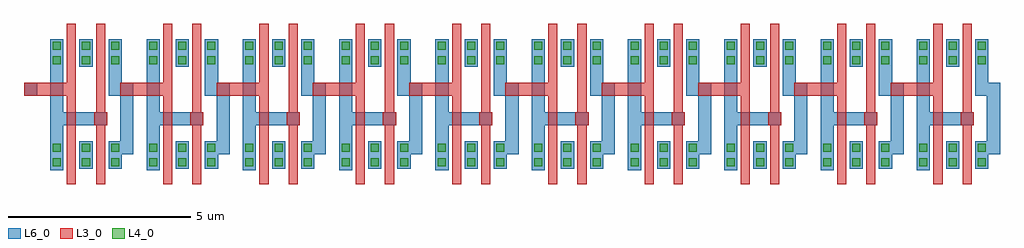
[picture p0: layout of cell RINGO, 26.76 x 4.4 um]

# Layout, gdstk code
import gdstk
lib = gdstk.Library(unit=1e-6, precision=1e-09)
def R(c, l, rs):  # rectangles x0, y0, x1, y1
    for r in rs: c.add(gdstk.rectangle(r[:2], r[2:], *l))
def A(c, l, x, y, w, h, nx, ny, dx, dy):  # array of equal rectangles
    R(c, l, [(x+i*dx, y+j*dy, x+i*dx+w, y+j*dy+h) for i in range(nx) for j in range(ny)])
L3_0 = (3, 0)
L4_0 = (4, 0)
L6_0 = (6, 0)
L10_0 = (10, 0)
L11_0 = (11, 0)
L20_0 = (20, 0)

ringo = lib.new_cell('RINGO')
A(ringo, L3_0, 0.22, 0.82, 0.36, 0.36, 10, 1, 2.64, 0)
A(ringo, L3_0, -1.7, 1.62, 1.3, 0.36, 10, 1, 2.64, 0)
R(ringo, L3_0, [(-0.525,-0.25,-0.275,2.25), (0.275,-0.25,0.525,2.25), (2.115,-0.25,2.365,2.25), (2.915,-0.25,3.165,2.25), (4.755,-0.25,5.005,2.25), (5.555,-0.25,5.805,2.25), (7.395,-0.25,7.645,2.25), (8.195,-0.25,8.445,2.25), (10.035,-0.25,10.285,2.25), (10.835,-0.25,11.085,2.25), (12.675,-0.25,12.925,2.25), (13.475,-0.25,13.725,2.25), (15.315,-0.25,15.565,2.25), (16.115,-0.25,16.365,2.25), (17.955,-0.25,18.205,2.25), (18.755,-0.25,19.005,2.25), (20.595,-0.25,20.845,2.25), (21.395,-0.25,21.645,2.25), (23.235,-0.25,23.485,2.25), (24.035,-0.25,24.285,2.25)])
R(ringo, L4_0, [(-0.91,-0.31,-0.69,-0.09), (-0.11,-0.31,0.11,-0.09), (-0.11,-0.31,0.11,-0.09), (0.69,-0.31,0.91,-0.09), (1.73,-0.31,1.95,-0.09), (2.53,-0.31,2.75,-0.09), (2.53,-0.31,2.75,-0.09), (3.33,-0.31,3.55,-0.09), (4.37,-0.31,4.59,-0.09), (5.17,-0.31,5.39,-0.09), (5.17,-0.31,5.39,-0.09), (5.97,-0.31,6.19,-0.09), (7.01,-0.31,7.23,-0.09), (7.81,-0.31,8.03,-0.09), (7.81,-0.31,8.03,-0.09), (8.61,-0.31,8.83,-0.09), (9.65,-0.31,9.87,-0.09), (10.45,-0.31,10.67,-0.09), (10.45,-0.31,10.67,-0.09), (11.25,-0.31,11.47,-0.09), (12.29,-0.31,12.51,-0.09), (13.09,-0.31,13.31,-0.09), (13.09,-0.31,13.31,-0.09), (13.89,-0.31,14.11,-0.09), (14.93,-0.31,15.15,-0.09), (15.73,-0.31,15.95,-0.09), (15.73,-0.31,15.95,-0.09), (16.53,-0.31,16.75,-0.09), (17.57,-0.31,17.79,-0.09), (18.37,-0.31,18.59,-0.09), (18.37,-0.31,18.59,-0.09), (19.17,-0.31,19.39,-0.09), (20.21,-0.31,20.43,-0.09), (21.01,-0.31,21.23,-0.09), (21.01,-0.31,21.23,-0.09), (21.81,-0.31,22.03,-0.09), (22.85,-0.31,23.07,-0.09), (23.65,-0.31,23.87,-0.09), (23.65,-0.31,23.87,-0.09), (24.45,-0.31,24.67,-0.09), (-0.91,0.09,-0.69,0.31), (-0.11,0.09,0.11,0.31), (-0.11,0.09,0.11,0.31), (0.69,0.09,0.91,0.31), (1.73,0.09,1.95,0.31), (2.53,0.09,2.75,0.31), (2.53,0.09,2.75,0.31), (3.33,0.09,3.55,0.31), (4.37,0.09,4.59,0.31), (5.17,0.09,5.39,0.31), (5.17,0.09,5.39,0.31), (5.97,0.09,6.19,0.31), (7.01,0.09,7.23,0.31), (7.81,0.09,8.03,0.31), (7.81,0.09,8.03,0.31), (8.61,0.09,8.83,0.31), (9.65,0.09,9.87,0.31), (10.45,0.09,10.67,0.31), (10.45,0.09,10.67,0.31), (11.25,0.09,11.47,0.31), (12.29,0.09,12.51,0.31), (13.09,0.09,13.31,0.31), (13.09,0.09,13.31,0.31), (13.89,0.09,14.11,0.31), (14.93,0.09,15.15,0.31), (15.73,0.09,15.95,0.31), (15.73,0.09,15.95,0.31), (16.53,0.09,16.75,0.31), (17.57,0.09,17.79,0.31), (18.37,0.09,18.59,0.31), (18.37,0.09,18.59,0.31), (19.17,0.09,19.39,0.31), (20.21,0.09,20.43,0.31), (21.01,0.09,21.23,0.31), (21.01,0.09,21.23,0.31), (21.81,0.09,22.03,0.31), (22.85,0.09,23.07,0.31), (23.65,0.09,23.87,0.31), (23.65,0.09,23.87,0.31), (24.45,0.09,24.67,0.31), (-0.91,2.49,-0.69,2.71), (-0.11,2.49,0.11,2.71), (-0.11,2.49,0.11,2.71), (0.69,2.49,0.91,2.71), (1.73,2.49,1.95,2.71), (2.53,2.49,2.75,2.71), (2.53,2.49,2.75,2.71), (3.33,2.49,3.55,2.71), (4.37,2.49,4.59,2.71), (5.17,2.49,5.39,2.71), (5.17,2.49,5.39,2.71), (5.97,2.49,6.19,2.71), (7.01,2.49,7.23,2.71), (7.81,2.49,8.03,2.71), (7.81,2.49,8.03,2.71), (8.61,2.49,8.83,2.71), (9.65,2.49,9.87,2.71), (10.45,2.49,10.67,2.71), (10.45,2.49,10.67,2.71), (11.25,2.49,11.47,2.71), (12.29,2.49,12.51,2.71), (13.09,2.49,13.31,2.71), (13.09,2.49,13.31,2.71), (13.89,2.49,14.11,2.71), (14.93,2.49,15.15,2.71), (15.73,2.49,15.95,2.71), (15.73,2.49,15.95,2.71), (16.53,2.49,16.75,2.71), (17.57,2.49,17.79,2.71), (18.37,2.49,18.59,2.71), (18.37,2.49,18.59,2.71), (19.17,2.49,19.39,2.71), (20.21,2.49,20.43,2.71), (21.01,2.49,21.23,2.71), (21.01,2.49,21.23,2.71), (21.81,2.49,22.03,2.71), (22.85,2.49,23.07,2.71), (23.65,2.49,23.87,2.71), (23.65,2.49,23.87,2.71), (24.45,2.49,24.67,2.71), (-0.91,2.89,-0.69,3.11), (-0.11,2.89,0.11,3.11), (-0.11,2.89,0.11,3.11), (0.69,2.89,0.91,3.11), (1.73,2.89,1.95,3.11), (2.53,2.89,2.75,3.11), (2.53,2.89,2.75,3.11), (3.33,2.89,3.55,3.11), (4.37,2.89,4.59,3.11), (5.17,2.89,5.39,3.11), (5.17,2.89,5.39,3.11), (5.97,2.89,6.19,3.11), (7.01,2.89,7.23,3.11), (7.81,2.89,8.03,3.11), (7.81,2.89,8.03,3.11), (8.61,2.89,8.83,3.11), (9.65,2.89,9.87,3.11), (10.45,2.89,10.67,3.11), (10.45,2.89,10.67,3.11), (11.25,2.89,11.47,3.11), (12.29,2.89,12.51,3.11), (13.09,2.89,13.31,3.11), (13.09,2.89,13.31,3.11), (13.89,2.89,14.11,3.11), (14.93,2.89,15.15,3.11), (15.73,2.89,15.95,3.11), (15.73,2.89,15.95,3.11), (16.53,2.89,16.75,3.11), (17.57,2.89,17.79,3.11), (18.37,2.89,18.59,3.11), (18.37,2.89,18.59,3.11), (19.17,2.89,19.39,3.11), (20.21,2.89,20.43,3.11), (21.01,2.89,21.23,3.11), (21.01,2.89,21.23,3.11), (21.81,2.89,22.03,3.11), (22.85,2.89,23.07,3.11), (23.65,2.89,23.87,3.11), (23.65,2.89,23.87,3.11), (24.45,2.89,24.67,3.11)])
A(ringo, L6_0, -0.98, -0.42, 0.36, 2.84, 10, 1, 2.64, 0)
A(ringo, L6_0, -0.8, 0.82, 1.38, 0.36, 10, 1, 2.64, 0)
R(ringo, L6_0, [(-0.98,-0.38,-0.62,0.38), (-0.18,-0.38,0.18,0.38), (-0.18,-0.38,0.18,0.38), (0.62,-0.38,0.98,0.38), (1.66,-0.38,2.02,0.38), (2.46,-0.38,2.82,0.38), (2.46,-0.38,2.82,0.38), (3.26,-0.38,3.62,0.38), (4.3,-0.38,4.66,0.38), (5.1,-0.38,5.46,0.38), (5.1,-0.38,5.46,0.38), (5.9,-0.38,6.26,0.38), (6.94,-0.38,7.3,0.38), (7.74,-0.38,8.1,0.38), (7.74,-0.38,8.1,0.38), (8.54,-0.38,8.9,0.38), (9.58,-0.38,9.94,0.38), (10.38,-0.38,10.74,0.38), (10.38,-0.38,10.74,0.38), (11.18,-0.38,11.54,0.38), (12.22,-0.38,12.58,0.38), (13.02,-0.38,13.38,0.38), (13.02,-0.38,13.38,0.38), (13.82,-0.38,14.18,0.38), (14.86,-0.38,15.22,0.38), (15.66,-0.38,16.02,0.38), (15.66,-0.38,16.02,0.38), (16.46,-0.38,16.82,0.38), (17.5,-0.38,17.86,0.38), (18.3,-0.38,18.66,0.38), (18.3,-0.38,18.66,0.38), (19.1,-0.38,19.46,0.38), (20.14,-0.38,20.5,0.38), (20.94,-0.38,21.3,0.38), (20.94,-0.38,21.3,0.38), (21.74,-0.38,22.1,0.38), (22.78,-0.38,23.14,0.38), (23.58,-0.38,23.94,0.38), (23.58,-0.38,23.94,0.38), (24.38,-0.38,24.74,0.38), (-1.7,1.62,-1.34,1.98), (-0.98,2.42,-0.62,3.18), (-0.18,2.42,0.18,3.18), (-0.18,2.42,0.18,3.18), (0.62,2.42,0.98,3.18), (1.66,2.42,2.02,3.18), (2.46,2.42,2.82,3.18), (2.46,2.42,2.82,3.18), (3.26,2.42,3.62,3.18), (4.3,2.42,4.66,3.18), (5.1,2.42,5.46,3.18), (5.1,2.42,5.46,3.18), (5.9,2.42,6.26,3.18), (6.94,2.42,7.3,3.18), (7.74,2.42,8.1,3.18), (7.74,2.42,8.1,3.18), (8.54,2.42,8.9,3.18), (9.58,2.42,9.94,3.18), (10.38,2.42,10.74,3.18), (10.38,2.42,10.74,3.18), (11.18,2.42,11.54,3.18), (12.22,2.42,12.58,3.18), (13.02,2.42,13.38,3.18), (13.02,2.42,13.38,3.18), (13.82,2.42,14.18,3.18), (14.86,2.42,15.22,3.18), (15.66,2.42,16.02,3.18), (15.66,2.42,16.02,3.18), (16.46,2.42,16.82,3.18), (17.5,2.42,17.86,3.18), (18.3,2.42,18.66,3.18), (18.3,2.42,18.66,3.18), (19.1,2.42,19.46,3.18), (20.14,2.42,20.5,3.18), (20.94,2.42,21.3,3.18), (20.94,2.42,21.3,3.18), (21.74,2.42,22.1,3.18), (22.78,2.42,23.14,3.18), (23.58,2.42,23.94,3.18), (23.58,2.42,23.94,3.18), (24.38,2.42,24.74,3.18)])
ringo.add(gdstk.FlexPath([(-0.4,-0.8),(-0.4,0.8)], 0.25, ends="flush", simple_path=True, layer=3, datatype=0))  # L3_0
ringo.add(gdstk.FlexPath([(-0.4,2),(-0.4,3.6)], 0.25, ends="flush", simple_path=True, layer=3, datatype=0))  # L3_0
ringo.add(gdstk.FlexPath([(0.4,0.8),(0.4,-0.8)], 0.25, ends="flush", simple_path=True, layer=3, datatype=0))  # L3_0
ringo.add(gdstk.FlexPath([(0.4,3.6),(0.4,2)], 0.25, ends="flush", simple_path=True, layer=3, datatype=0))  # L3_0
ringo.add(gdstk.FlexPath([(2.24,-0.8),(2.24,0.8)], 0.25, ends="flush", simple_path=True, layer=3, datatype=0))  # L3_0
ringo.add(gdstk.FlexPath([(2.24,2),(2.24,3.6)], 0.25, ends="flush", simple_path=True, layer=3, datatype=0))  # L3_0
ringo.add(gdstk.FlexPath([(3.04,0.8),(3.04,-0.8)], 0.25, ends="flush", simple_path=True, layer=3, datatype=0))  # L3_0
ringo.add(gdstk.FlexPath([(3.04,3.6),(3.04,2)], 0.25, ends="flush", simple_path=True, layer=3, datatype=0))  # L3_0
ringo.add(gdstk.FlexPath([(4.88,-0.8),(4.88,0.8)], 0.25, ends="flush", simple_path=True, layer=3, datatype=0))  # L3_0
ringo.add(gdstk.FlexPath([(4.88,2),(4.88,3.6)], 0.25, ends="flush", simple_path=True, layer=3, datatype=0))  # L3_0
ringo.add(gdstk.FlexPath([(5.68,0.8),(5.68,-0.8)], 0.25, ends="flush", simple_path=True, layer=3, datatype=0))  # L3_0
ringo.add(gdstk.FlexPath([(5.68,3.6),(5.68,2)], 0.25, ends="flush", simple_path=True, layer=3, datatype=0))  # L3_0
ringo.add(gdstk.FlexPath([(7.52,-0.8),(7.52,0.8)], 0.25, ends="flush", simple_path=True, layer=3, datatype=0))  # L3_0
ringo.add(gdstk.FlexPath([(7.52,2),(7.52,3.6)], 0.25, ends="flush", simple_path=True, layer=3, datatype=0))  # L3_0
ringo.add(gdstk.FlexPath([(8.32,0.8),(8.32,-0.8)], 0.25, ends="flush", simple_path=True, layer=3, datatype=0))  # L3_0
ringo.add(gdstk.FlexPath([(8.32,3.6),(8.32,2)], 0.25, ends="flush", simple_path=True, layer=3, datatype=0))  # L3_0
ringo.add(gdstk.FlexPath([(10.16,-0.8),(10.16,0.8)], 0.25, ends="flush", simple_path=True, layer=3, datatype=0))  # L3_0
ringo.add(gdstk.FlexPath([(10.16,2),(10.16,3.6)], 0.25, ends="flush", simple_path=True, layer=3, datatype=0))  # L3_0
ringo.add(gdstk.FlexPath([(10.96,0.8),(10.96,-0.8)], 0.25, ends="flush", simple_path=True, layer=3, datatype=0))  # L3_0
ringo.add(gdstk.FlexPath([(10.96,3.6),(10.96,2)], 0.25, ends="flush", simple_path=True, layer=3, datatype=0))  # L3_0
ringo.add(gdstk.FlexPath([(12.8,-0.8),(12.8,0.8)], 0.25, ends="flush", simple_path=True, layer=3, datatype=0))  # L3_0
ringo.add(gdstk.FlexPath([(12.8,2),(12.8,3.6)], 0.25, ends="flush", simple_path=True, layer=3, datatype=0))  # L3_0
ringo.add(gdstk.FlexPath([(13.6,0.8),(13.6,-0.8)], 0.25, ends="flush", simple_path=True, layer=3, datatype=0))  # L3_0
ringo.add(gdstk.FlexPath([(13.6,3.6),(13.6,2)], 0.25, ends="flush", simple_path=True, layer=3, datatype=0))  # L3_0
ringo.add(gdstk.FlexPath([(15.44,-0.8),(15.44,0.8)], 0.25, ends="flush", simple_path=True, layer=3, datatype=0))  # L3_0
ringo.add(gdstk.FlexPath([(15.44,2),(15.44,3.6)], 0.25, ends="flush", simple_path=True, layer=3, datatype=0))  # L3_0
ringo.add(gdstk.FlexPath([(16.24,0.8),(16.24,-0.8)], 0.25, ends="flush", simple_path=True, layer=3, datatype=0))  # L3_0
ringo.add(gdstk.FlexPath([(16.24,3.6),(16.24,2)], 0.25, ends="flush", simple_path=True, layer=3, datatype=0))  # L3_0
ringo.add(gdstk.FlexPath([(18.08,-0.8),(18.08,0.8)], 0.25, ends="flush", simple_path=True, layer=3, datatype=0))  # L3_0
ringo.add(gdstk.FlexPath([(18.08,2),(18.08,3.6)], 0.25, ends="flush", simple_path=True, layer=3, datatype=0))  # L3_0
ringo.add(gdstk.FlexPath([(18.88,0.8),(18.88,-0.8)], 0.25, ends="flush", simple_path=True, layer=3, datatype=0))  # L3_0
ringo.add(gdstk.FlexPath([(18.88,3.6),(18.88,2)], 0.25, ends="flush", simple_path=True, layer=3, datatype=0))  # L3_0
ringo.add(gdstk.FlexPath([(20.72,-0.8),(20.72,0.8)], 0.25, ends="flush", simple_path=True, layer=3, datatype=0))  # L3_0
ringo.add(gdstk.FlexPath([(20.72,2),(20.72,3.6)], 0.25, ends="flush", simple_path=True, layer=3, datatype=0))  # L3_0
ringo.add(gdstk.FlexPath([(21.52,0.8),(21.52,-0.8)], 0.25, ends="flush", simple_path=True, layer=3, datatype=0))  # L3_0
ringo.add(gdstk.FlexPath([(21.52,3.6),(21.52,2)], 0.25, ends="flush", simple_path=True, layer=3, datatype=0))  # L3_0
ringo.add(gdstk.FlexPath([(23.36,-0.8),(23.36,0.8)], 0.25, ends="flush", simple_path=True, layer=3, datatype=0))  # L3_0
ringo.add(gdstk.FlexPath([(23.36,2),(23.36,3.6)], 0.25, ends="flush", simple_path=True, layer=3, datatype=0))  # L3_0
ringo.add(gdstk.FlexPath([(24.16,0.8),(24.16,-0.8)], 0.25, ends="flush", simple_path=True, layer=3, datatype=0))  # L3_0
ringo.add(gdstk.FlexPath([(24.16,3.6),(24.16,2)], 0.25, ends="flush", simple_path=True, layer=3, datatype=0))  # L3_0
ringo.add(gdstk.FlexPath([(0.8,0.2),(1.12,0.2),(1.12,1.8),(0.8,1.8),(0.8,2.42)], 0.36, ends="flush", simple_path=True, layer=6, datatype=0))  # L6_0
ringo.add(gdstk.FlexPath([(3.44,0.2),(3.76,0.2),(3.76,1.8),(3.44,1.8),(3.44,2.42)], 0.36, ends="flush", simple_path=True, layer=6, datatype=0))  # L6_0
ringo.add(gdstk.FlexPath([(6.08,0.2),(6.4,0.2),(6.4,1.8),(6.08,1.8),(6.08,2.42)], 0.36, ends="flush", simple_path=True, layer=6, datatype=0))  # L6_0
ringo.add(gdstk.FlexPath([(8.72,0.2),(9.04,0.2),(9.04,1.8),(8.72,1.8),(8.72,2.42)], 0.36, ends="flush", simple_path=True, layer=6, datatype=0))  # L6_0
ringo.add(gdstk.FlexPath([(11.36,0.2),(11.68,0.2),(11.68,1.8),(11.36,1.8),(11.36,2.42)], 0.36, ends="flush", simple_path=True, layer=6, datatype=0))  # L6_0
ringo.add(gdstk.FlexPath([(14,0.2),(14.32,0.2),(14.32,1.8),(14,1.8),(14,2.42)], 0.36, ends="flush", simple_path=True, layer=6, datatype=0))  # L6_0
ringo.add(gdstk.FlexPath([(16.64,0.2),(16.96,0.2),(16.96,1.8),(16.64,1.8),(16.64,2.42)], 0.36, ends="flush", simple_path=True, layer=6, datatype=0))  # L6_0
ringo.add(gdstk.FlexPath([(19.28,0.2),(19.6,0.2),(19.6,1.8),(19.28,1.8),(19.28,2.42)], 0.36, ends="flush", simple_path=True, layer=6, datatype=0))  # L6_0
ringo.add(gdstk.FlexPath([(21.92,0.2),(22.24,0.2),(22.24,1.8),(21.92,1.8),(21.92,2.42)], 0.36, ends="flush", simple_path=True, layer=6, datatype=0))  # L6_0
ringo.add(gdstk.FlexPath([(24.56,0.2),(24.88,0.2),(24.88,1.8),(24.56,1.8),(24.56,2.42)], 0.36, ends="flush", simple_path=True, layer=6, datatype=0))  # L6_0
ringo.add(gdstk.FlexPath([(-0.525,-0.8),(-0.525,1.62)], 0, ends="flush", simple_path=True, layer=10, datatype=0))  # L10_0
ringo.add(gdstk.FlexPath([(-0.275,1.691),(-0.275,-0.8)], 0, ends="flush", simple_path=True, layer=10, datatype=0))  # L10_0
ringo.add(gdstk.FlexPath([(-0.525,1.98),(-0.525,3.6)], 0, ends="flush", simple_path=True, layer=10, datatype=0))  # L10_0
ringo.add(gdstk.FlexPath([(-0.275,3.6),(-0.275,1.909)], 0, ends="flush", simple_path=True, layer=10, datatype=0))  # L10_0
ringo.add(gdstk.FlexPath([(0.275,-0.8),(0.275,0.82)], 0, ends="flush", simple_path=True, layer=10, datatype=0))  # L10_0
ringo.add(gdstk.FlexPath([(0.525,0.82),(0.525,-0.8)], 0, ends="flush", simple_path=True, layer=10, datatype=0))  # L10_0
ringo.add(gdstk.FlexPath([(0.275,1.18),(0.275,3.6)], 0, ends="flush", simple_path=True, layer=10, datatype=0))  # L10_0
ringo.add(gdstk.FlexPath([(0.525,3.6),(0.525,1.18)], 0, ends="flush", simple_path=True, layer=10, datatype=0))  # L10_0
ringo.add(gdstk.FlexPath([(2.115,-0.8),(2.115,1.62)], 0, ends="flush", simple_path=True, layer=10, datatype=0))  # L10_0
ringo.add(gdstk.FlexPath([(2.365,1.691),(2.365,-0.8)], 0, ends="flush", simple_path=True, layer=10, datatype=0))  # L10_0
ringo.add(gdstk.FlexPath([(2.115,1.98),(2.115,3.6)], 0, ends="flush", simple_path=True, layer=10, datatype=0))  # L10_0
ringo.add(gdstk.FlexPath([(2.365,3.6),(2.365,1.909)], 0, ends="flush", simple_path=True, layer=10, datatype=0))  # L10_0
ringo.add(gdstk.FlexPath([(2.915,-0.8),(2.915,0.82)], 0, ends="flush", simple_path=True, layer=10, datatype=0))  # L10_0
ringo.add(gdstk.FlexPath([(3.165,0.82),(3.165,-0.8)], 0, ends="flush", simple_path=True, layer=10, datatype=0))  # L10_0
ringo.add(gdstk.FlexPath([(2.915,1.18),(2.915,3.6)], 0, ends="flush", simple_path=True, layer=10, datatype=0))  # L10_0
ringo.add(gdstk.FlexPath([(3.165,3.6),(3.165,1.18)], 0, ends="flush", simple_path=True, layer=10, datatype=0))  # L10_0
ringo.add(gdstk.FlexPath([(4.755,-0.8),(4.755,1.62)], 0, ends="flush", simple_path=True, layer=10, datatype=0))  # L10_0
ringo.add(gdstk.FlexPath([(5.005,1.691),(5.005,-0.8)], 0, ends="flush", simple_path=True, layer=10, datatype=0))  # L10_0
ringo.add(gdstk.FlexPath([(4.755,1.98),(4.755,3.6)], 0, ends="flush", simple_path=True, layer=10, datatype=0))  # L10_0
ringo.add(gdstk.FlexPath([(5.005,3.6),(5.005,1.909)], 0, ends="flush", simple_path=True, layer=10, datatype=0))  # L10_0
ringo.add(gdstk.FlexPath([(5.555,-0.8),(5.555,0.82)], 0, ends="flush", simple_path=True, layer=10, datatype=0))  # L10_0
ringo.add(gdstk.FlexPath([(5.805,0.82),(5.805,-0.8)], 0, ends="flush", simple_path=True, layer=10, datatype=0))  # L10_0
ringo.add(gdstk.FlexPath([(5.555,1.18),(5.555,3.6)], 0, ends="flush", simple_path=True, layer=10, datatype=0))  # L10_0
ringo.add(gdstk.FlexPath([(5.805,3.6),(5.805,1.18)], 0, ends="flush", simple_path=True, layer=10, datatype=0))  # L10_0
ringo.add(gdstk.FlexPath([(7.395,-0.8),(7.395,1.62)], 0, ends="flush", simple_path=True, layer=10, datatype=0))  # L10_0
ringo.add(gdstk.FlexPath([(7.645,1.691),(7.645,-0.8)], 0, ends="flush", simple_path=True, layer=10, datatype=0))  # L10_0
ringo.add(gdstk.FlexPath([(7.395,1.98),(7.395,3.6)], 0, ends="flush", simple_path=True, layer=10, datatype=0))  # L10_0
ringo.add(gdstk.FlexPath([(7.645,3.6),(7.645,1.909)], 0, ends="flush", simple_path=True, layer=10, datatype=0))  # L10_0
ringo.add(gdstk.FlexPath([(8.195,-0.8),(8.195,0.82)], 0, ends="flush", simple_path=True, layer=10, datatype=0))  # L10_0
ringo.add(gdstk.FlexPath([(8.445,0.82),(8.445,-0.8)], 0, ends="flush", simple_path=True, layer=10, datatype=0))  # L10_0
ringo.add(gdstk.FlexPath([(8.195,1.18),(8.195,3.6)], 0, ends="flush", simple_path=True, layer=10, datatype=0))  # L10_0
ringo.add(gdstk.FlexPath([(8.445,3.6),(8.445,1.18)], 0, ends="flush", simple_path=True, layer=10, datatype=0))  # L10_0
ringo.add(gdstk.FlexPath([(10.035,-0.8),(10.035,1.62)], 0, ends="flush", simple_path=True, layer=10, datatype=0))  # L10_0
ringo.add(gdstk.FlexPath([(10.285,1.691),(10.285,-0.8)], 0, ends="flush", simple_path=True, layer=10, datatype=0))  # L10_0
ringo.add(gdstk.FlexPath([(10.035,1.98),(10.035,3.6)], 0, ends="flush", simple_path=True, layer=10, datatype=0))  # L10_0
ringo.add(gdstk.FlexPath([(10.285,3.6),(10.285,1.909)], 0, ends="flush", simple_path=True, layer=10, datatype=0))  # L10_0
ringo.add(gdstk.FlexPath([(10.835,-0.8),(10.835,0.82)], 0, ends="flush", simple_path=True, layer=10, datatype=0))  # L10_0
ringo.add(gdstk.FlexPath([(11.085,0.82),(11.085,-0.8)], 0, ends="flush", simple_path=True, layer=10, datatype=0))  # L10_0
ringo.add(gdstk.FlexPath([(10.835,1.18),(10.835,3.6)], 0, ends="flush", simple_path=True, layer=10, datatype=0))  # L10_0
ringo.add(gdstk.FlexPath([(11.085,3.6),(11.085,1.18)], 0, ends="flush", simple_path=True, layer=10, datatype=0))  # L10_0
ringo.add(gdstk.FlexPath([(12.675,-0.8),(12.675,1.62)], 0, ends="flush", simple_path=True, layer=10, datatype=0))  # L10_0
ringo.add(gdstk.FlexPath([(12.925,1.691),(12.925,-0.8)], 0, ends="flush", simple_path=True, layer=10, datatype=0))  # L10_0
ringo.add(gdstk.FlexPath([(12.675,1.98),(12.675,3.6)], 0, ends="flush", simple_path=True, layer=10, datatype=0))  # L10_0
ringo.add(gdstk.FlexPath([(12.925,3.6),(12.925,1.909)], 0, ends="flush", simple_path=True, layer=10, datatype=0))  # L10_0
ringo.add(gdstk.FlexPath([(13.475,-0.8),(13.475,0.82)], 0, ends="flush", simple_path=True, layer=10, datatype=0))  # L10_0
ringo.add(gdstk.FlexPath([(13.725,0.82),(13.725,-0.8)], 0, ends="flush", simple_path=True, layer=10, datatype=0))  # L10_0
ringo.add(gdstk.FlexPath([(13.475,1.18),(13.475,3.6)], 0, ends="flush", simple_path=True, layer=10, datatype=0))  # L10_0
ringo.add(gdstk.FlexPath([(13.725,3.6),(13.725,1.18)], 0, ends="flush", simple_path=True, layer=10, datatype=0))  # L10_0
ringo.add(gdstk.FlexPath([(15.315,-0.8),(15.315,1.62)], 0, ends="flush", simple_path=True, layer=10, datatype=0))  # L10_0
ringo.add(gdstk.FlexPath([(15.565,1.691),(15.565,-0.8)], 0, ends="flush", simple_path=True, layer=10, datatype=0))  # L10_0
ringo.add(gdstk.FlexPath([(15.315,1.98),(15.315,3.6)], 0, ends="flush", simple_path=True, layer=10, datatype=0))  # L10_0
ringo.add(gdstk.FlexPath([(15.565,3.6),(15.565,1.909)], 0, ends="flush", simple_path=True, layer=10, datatype=0))  # L10_0
ringo.add(gdstk.FlexPath([(16.115,-0.8),(16.115,0.82)], 0, ends="flush", simple_path=True, layer=10, datatype=0))  # L10_0
ringo.add(gdstk.FlexPath([(16.365,0.82),(16.365,-0.8)], 0, ends="flush", simple_path=True, layer=10, datatype=0))  # L10_0
ringo.add(gdstk.FlexPath([(16.115,1.18),(16.115,3.6)], 0, ends="flush", simple_path=True, layer=10, datatype=0))  # L10_0
ringo.add(gdstk.FlexPath([(16.365,3.6),(16.365,1.18)], 0, ends="flush", simple_path=True, layer=10, datatype=0))  # L10_0
ringo.add(gdstk.FlexPath([(17.955,-0.8),(17.955,1.62)], 0, ends="flush", simple_path=True, layer=10, datatype=0))  # L10_0
ringo.add(gdstk.FlexPath([(18.205,1.691),(18.205,-0.8)], 0, ends="flush", simple_path=True, layer=10, datatype=0))  # L10_0
ringo.add(gdstk.FlexPath([(17.955,1.98),(17.955,3.6)], 0, ends="flush", simple_path=True, layer=10, datatype=0))  # L10_0
ringo.add(gdstk.FlexPath([(18.205,3.6),(18.205,1.909)], 0, ends="flush", simple_path=True, layer=10, datatype=0))  # L10_0
ringo.add(gdstk.FlexPath([(18.755,-0.8),(18.755,0.82)], 0, ends="flush", simple_path=True, layer=10, datatype=0))  # L10_0
ringo.add(gdstk.FlexPath([(19.005,0.82),(19.005,-0.8)], 0, ends="flush", simple_path=True, layer=10, datatype=0))  # L10_0
ringo.add(gdstk.FlexPath([(18.755,1.18),(18.755,3.6)], 0, ends="flush", simple_path=True, layer=10, datatype=0))  # L10_0
ringo.add(gdstk.FlexPath([(19.005,3.6),(19.005,1.18)], 0, ends="flush", simple_path=True, layer=10, datatype=0))  # L10_0
ringo.add(gdstk.FlexPath([(20.595,-0.8),(20.595,1.62)], 0, ends="flush", simple_path=True, layer=10, datatype=0))  # L10_0
ringo.add(gdstk.FlexPath([(20.845,1.691),(20.845,-0.8)], 0, ends="flush", simple_path=True, layer=10, datatype=0))  # L10_0
ringo.add(gdstk.FlexPath([(20.595,1.98),(20.595,3.6)], 0, ends="flush", simple_path=True, layer=10, datatype=0))  # L10_0
ringo.add(gdstk.FlexPath([(20.845,3.6),(20.845,1.909)], 0, ends="flush", simple_path=True, layer=10, datatype=0))  # L10_0
ringo.add(gdstk.FlexPath([(21.395,-0.8),(21.395,0.82)], 0, ends="flush", simple_path=True, layer=10, datatype=0))  # L10_0
ringo.add(gdstk.FlexPath([(21.645,0.82),(21.645,-0.8)], 0, ends="flush", simple_path=True, layer=10, datatype=0))  # L10_0
ringo.add(gdstk.FlexPath([(21.395,1.18),(21.395,3.6)], 0, ends="flush", simple_path=True, layer=10, datatype=0))  # L10_0
ringo.add(gdstk.FlexPath([(21.645,3.6),(21.645,1.18)], 0, ends="flush", simple_path=True, layer=10, datatype=0))  # L10_0
ringo.add(gdstk.FlexPath([(23.235,-0.8),(23.235,1.62)], 0, ends="flush", simple_path=True, layer=10, datatype=0))  # L10_0
ringo.add(gdstk.FlexPath([(23.485,1.691),(23.485,-0.8)], 0, ends="flush", simple_path=True, layer=10, datatype=0))  # L10_0
ringo.add(gdstk.FlexPath([(23.235,1.98),(23.235,3.6)], 0, ends="flush", simple_path=True, layer=10, datatype=0))  # L10_0
ringo.add(gdstk.FlexPath([(23.485,3.6),(23.485,1.909)], 0, ends="flush", simple_path=True, layer=10, datatype=0))  # L10_0
ringo.add(gdstk.FlexPath([(24.035,-0.8),(24.035,0.82)], 0, ends="flush", simple_path=True, layer=10, datatype=0))  # L10_0
ringo.add(gdstk.FlexPath([(24.285,0.82),(24.285,-0.8)], 0, ends="flush", simple_path=True, layer=10, datatype=0))  # L10_0
ringo.add(gdstk.FlexPath([(24.035,1.18),(24.035,3.6)], 0, ends="flush", simple_path=True, layer=10, datatype=0))  # L10_0
ringo.add(gdstk.FlexPath([(24.285,3.6),(24.285,1.18)], 0, ends="flush", simple_path=True, layer=10, datatype=0))  # L10_0
ringo.add(gdstk.FlexPath([(-0.525,-0.8),(-0.525,1.62)], 0, ends="flush", simple_path=True, layer=11, datatype=0))  # L11_0
ringo.add(gdstk.FlexPath([(-0.275,3.6),(-0.275,-0.8)], 0, ends="flush", simple_path=True, layer=11, datatype=0))  # L11_0
ringo.add(gdstk.FlexPath([(0.275,1.18),(0.275,3.6)], 0, ends="flush", simple_path=True, layer=11, datatype=0))  # L11_0
ringo.add(gdstk.FlexPath([(0.525,3.6),(0.525,1.18)], 0, ends="flush", simple_path=True, layer=11, datatype=0))  # L11_0
ringo.add(gdstk.FlexPath([(2.115,-0.8),(2.115,1.62)], 0, ends="flush", simple_path=True, layer=11, datatype=0))  # L11_0
ringo.add(gdstk.FlexPath([(2.365,3.6),(2.365,-0.8)], 0, ends="flush", simple_path=True, layer=11, datatype=0))  # L11_0
ringo.add(gdstk.FlexPath([(2.915,1.18),(2.915,3.6)], 0, ends="flush", simple_path=True, layer=11, datatype=0))  # L11_0
ringo.add(gdstk.FlexPath([(3.165,3.6),(3.165,1.18)], 0, ends="flush", simple_path=True, layer=11, datatype=0))  # L11_0
ringo.add(gdstk.FlexPath([(4.755,-0.8),(4.755,1.62)], 0, ends="flush", simple_path=True, layer=11, datatype=0))  # L11_0
ringo.add(gdstk.FlexPath([(5.005,3.6),(5.005,-0.8)], 0, ends="flush", simple_path=True, layer=11, datatype=0))  # L11_0
ringo.add(gdstk.FlexPath([(5.555,1.18),(5.555,3.6)], 0, ends="flush", simple_path=True, layer=11, datatype=0))  # L11_0
ringo.add(gdstk.FlexPath([(5.805,3.6),(5.805,1.18)], 0, ends="flush", simple_path=True, layer=11, datatype=0))  # L11_0
ringo.add(gdstk.FlexPath([(7.395,-0.8),(7.395,1.62)], 0, ends="flush", simple_path=True, layer=11, datatype=0))  # L11_0
ringo.add(gdstk.FlexPath([(7.645,3.6),(7.645,-0.8)], 0, ends="flush", simple_path=True, layer=11, datatype=0))  # L11_0
ringo.add(gdstk.FlexPath([(8.195,1.18),(8.195,3.6)], 0, ends="flush", simple_path=True, layer=11, datatype=0))  # L11_0
ringo.add(gdstk.FlexPath([(8.445,3.6),(8.445,1.18)], 0, ends="flush", simple_path=True, layer=11, datatype=0))  # L11_0
ringo.add(gdstk.FlexPath([(10.035,-0.8),(10.035,1.62)], 0, ends="flush", simple_path=True, layer=11, datatype=0))  # L11_0
ringo.add(gdstk.FlexPath([(10.285,3.6),(10.285,-0.8)], 0, ends="flush", simple_path=True, layer=11, datatype=0))  # L11_0
ringo.add(gdstk.FlexPath([(10.835,1.18),(10.835,3.6)], 0, ends="flush", simple_path=True, layer=11, datatype=0))  # L11_0
ringo.add(gdstk.FlexPath([(11.085,3.6),(11.085,1.18)], 0, ends="flush", simple_path=True, layer=11, datatype=0))  # L11_0
ringo.add(gdstk.FlexPath([(12.675,-0.8),(12.675,1.62)], 0, ends="flush", simple_path=True, layer=11, datatype=0))  # L11_0
ringo.add(gdstk.FlexPath([(12.925,3.6),(12.925,-0.8)], 0, ends="flush", simple_path=True, layer=11, datatype=0))  # L11_0
ringo.add(gdstk.FlexPath([(13.475,1.18),(13.475,3.6)], 0, ends="flush", simple_path=True, layer=11, datatype=0))  # L11_0
ringo.add(gdstk.FlexPath([(13.725,3.6),(13.725,1.18)], 0, ends="flush", simple_path=True, layer=11, datatype=0))  # L11_0
ringo.add(gdstk.FlexPath([(15.315,-0.8),(15.315,1.62)], 0, ends="flush", simple_path=True, layer=11, datatype=0))  # L11_0
ringo.add(gdstk.FlexPath([(15.565,3.6),(15.565,-0.8)], 0, ends="flush", simple_path=True, layer=11, datatype=0))  # L11_0
ringo.add(gdstk.FlexPath([(16.115,1.18),(16.115,3.6)], 0, ends="flush", simple_path=True, layer=11, datatype=0))  # L11_0
ringo.add(gdstk.FlexPath([(16.365,3.6),(16.365,1.18)], 0, ends="flush", simple_path=True, layer=11, datatype=0))  # L11_0
ringo.add(gdstk.FlexPath([(17.955,-0.8),(17.955,1.62)], 0, ends="flush", simple_path=True, layer=11, datatype=0))  # L11_0
ringo.add(gdstk.FlexPath([(18.205,3.6),(18.205,-0.8)], 0, ends="flush", simple_path=True, layer=11, datatype=0))  # L11_0
ringo.add(gdstk.FlexPath([(18.755,1.18),(18.755,3.6)], 0, ends="flush", simple_path=True, layer=11, datatype=0))  # L11_0
ringo.add(gdstk.FlexPath([(19.005,3.6),(19.005,1.18)], 0, ends="flush", simple_path=True, layer=11, datatype=0))  # L11_0
ringo.add(gdstk.FlexPath([(20.595,-0.8),(20.595,1.62)], 0, ends="flush", simple_path=True, layer=11, datatype=0))  # L11_0
ringo.add(gdstk.FlexPath([(20.845,3.6),(20.845,-0.8)], 0, ends="flush", simple_path=True, layer=11, datatype=0))  # L11_0
ringo.add(gdstk.FlexPath([(21.395,1.18),(21.395,3.6)], 0, ends="flush", simple_path=True, layer=11, datatype=0))  # L11_0
ringo.add(gdstk.FlexPath([(21.645,3.6),(21.645,1.18)], 0, ends="flush", simple_path=True, layer=11, datatype=0))  # L11_0
ringo.add(gdstk.FlexPath([(23.235,-0.8),(23.235,1.62)], 0, ends="flush", simple_path=True, layer=11, datatype=0))  # L11_0
ringo.add(gdstk.FlexPath([(23.485,3.6),(23.485,-0.8)], 0, ends="flush", simple_path=True, layer=11, datatype=0))  # L11_0
ringo.add(gdstk.FlexPath([(24.035,1.18),(24.035,3.6)], 0, ends="flush", simple_path=True, layer=11, datatype=0))  # L11_0
ringo.add(gdstk.FlexPath([(24.285,3.6),(24.285,1.18)], 0, ends="flush", simple_path=True, layer=11, datatype=0))  # L11_0
ringo.add(gdstk.FlexPath([(0.62,0.38),(0.94,0.38)], 0, ends="flush", simple_path=True, layer=20, datatype=0))  # L20_0
ringo.add(gdstk.FlexPath([(0.94,1.62),(0.62,1.62)], 0, ends="flush", simple_path=True, layer=20, datatype=0))  # L20_0
ringo.add(gdstk.FlexPath([(3.26,0.38),(3.58,0.38)], 0, ends="flush", simple_path=True, layer=20, datatype=0))  # L20_0
ringo.add(gdstk.FlexPath([(3.58,1.62),(3.26,1.62)], 0, ends="flush", simple_path=True, layer=20, datatype=0))  # L20_0
ringo.add(gdstk.FlexPath([(5.9,0.38),(6.22,0.38)], 0, ends="flush", simple_path=True, layer=20, datatype=0))  # L20_0
ringo.add(gdstk.FlexPath([(6.22,1.62),(5.9,1.62)], 0, ends="flush", simple_path=True, layer=20, datatype=0))  # L20_0
ringo.add(gdstk.FlexPath([(8.54,0.38),(8.86,0.38)], 0, ends="flush", simple_path=True, layer=20, datatype=0))  # L20_0
ringo.add(gdstk.FlexPath([(8.86,1.62),(8.54,1.62)], 0, ends="flush", simple_path=True, layer=20, datatype=0))  # L20_0
ringo.add(gdstk.FlexPath([(11.18,0.38),(11.5,0.38)], 0, ends="flush", simple_path=True, layer=20, datatype=0))  # L20_0
ringo.add(gdstk.FlexPath([(11.5,1.62),(11.18,1.62)], 0, ends="flush", simple_path=True, layer=20, datatype=0))  # L20_0
ringo.add(gdstk.FlexPath([(13.82,0.38),(14.14,0.38)], 0, ends="flush", simple_path=True, layer=20, datatype=0))  # L20_0
ringo.add(gdstk.FlexPath([(14.14,1.62),(13.82,1.62)], 0, ends="flush", simple_path=True, layer=20, datatype=0))  # L20_0
ringo.add(gdstk.FlexPath([(16.46,0.38),(16.78,0.38)], 0, ends="flush", simple_path=True, layer=20, datatype=0))  # L20_0
ringo.add(gdstk.FlexPath([(16.78,1.62),(16.46,1.62)], 0, ends="flush", simple_path=True, layer=20, datatype=0))  # L20_0
ringo.add(gdstk.FlexPath([(19.1,0.38),(19.42,0.38)], 0, ends="flush", simple_path=True, layer=20, datatype=0))  # L20_0
ringo.add(gdstk.FlexPath([(19.42,1.62),(19.1,1.62)], 0, ends="flush", simple_path=True, layer=20, datatype=0))  # L20_0
ringo.add(gdstk.FlexPath([(21.74,0.38),(22.06,0.38)], 0, ends="flush", simple_path=True, layer=20, datatype=0))  # L20_0
ringo.add(gdstk.FlexPath([(22.06,1.62),(21.74,1.62)], 0, ends="flush", simple_path=True, layer=20, datatype=0))  # L20_0
ringo.add(gdstk.FlexPath([(24.38,0.38),(24.7,0.38)], 0, ends="flush", simple_path=True, layer=20, datatype=0))  # L20_0
ringo.add(gdstk.FlexPath([(24.7,1.62),(24.38,1.62)], 0, ends="flush", simple_path=True, layer=20, datatype=0))  # L20_0

lib.write_gds('RINGO.gds')
